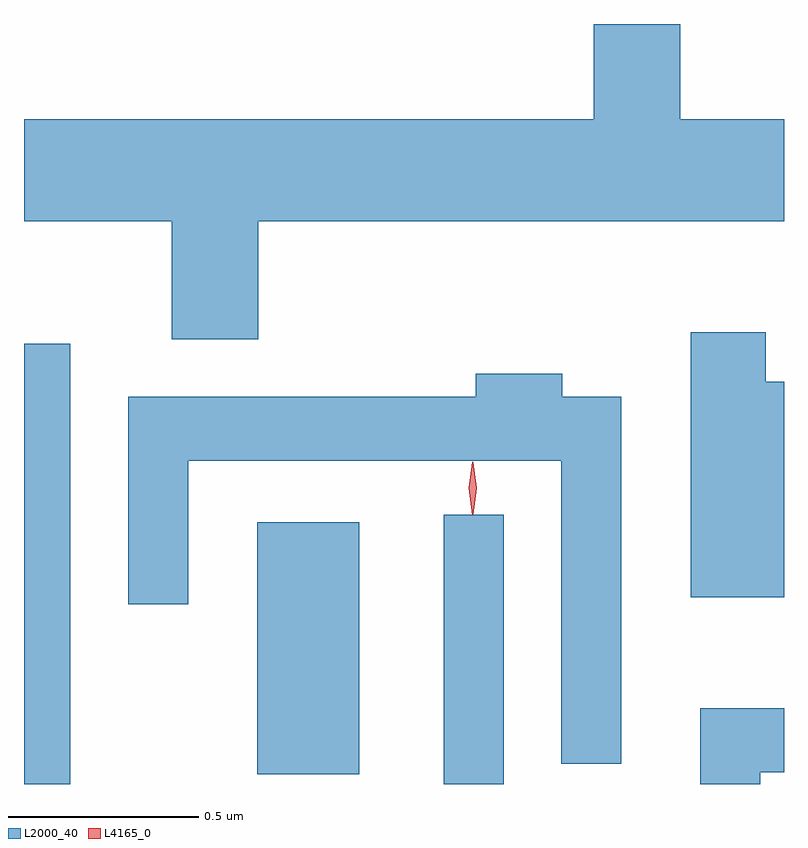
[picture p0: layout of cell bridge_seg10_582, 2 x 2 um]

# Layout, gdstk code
import gdstk
lib = gdstk.Library(unit=1e-6, precision=1e-09)
def R(c, l, rs):  # rectangles x0, y0, x1, y1
    for r in rs: c.add(gdstk.rectangle(r[:2], r[2:], *l))
def P(c, l, *ps):  # polygons
    for p in ps: c.add(gdstk.Polygon(p, *l))
L2000_40 = (2000, 40)
L4165_0 = (4165, 0)

bridge_seg10_582 = lib.new_cell('bridge_seg10_582')
R(bridge_seg10_582, L2000_40, [(767.062,2159.055,767.184,2160.213), (768.166,2159.055,768.324,2159.763), (767.676,2159.081,767.944,2159.744)])
P(bridge_seg10_582, L2000_40, [(767.679,2160.536),(769.062,2160.536),(769.062,2160.804),(768.789,2160.804),(768.789,2161.055),(768.561,2161.055),(768.561,2160.804),(767.062,2160.804),(767.062,2160.536),(767.451,2160.536),(767.451,2160.226),(767.679,2160.226)],
  [(769.062,2160.114),(769.014,2160.114),(769.014,2160.244),(768.816,2160.244),(768.816,2159.546),(769.062,2159.546)],
  [(768.634,2160.074),(768.479,2160.074),(768.479,2160.134),(768.251,2160.134),(768.251,2160.074),(767.336,2160.074),(767.336,2159.528),(767.494,2159.528),(767.494,2159.906),(768.476,2159.906),(768.476,2159.108),(768.634,2159.108)],
  [(768.999,2159.086),(769.062,2159.086),(769.062,2159.254),(768.841,2159.254),(768.841,2159.055),(768.999,2159.055)])
P(bridge_seg10_582, L4165_0, [(768.242,2159.764),(768.233,2159.833),(768.242,2159.902),(768.243,2159.903),(768.244,2159.902),(768.253,2159.833),(768.244,2159.764),(768.243,2159.764)],
  [(768.242,2159.767),(768.233,2159.834),(768.242,2159.9),(768.243,2159.9),(768.244,2159.9),(768.253,2159.834),(768.244,2159.767),(768.243,2159.767)])

lib.write_gds('bridge_seg10_582.gds')
